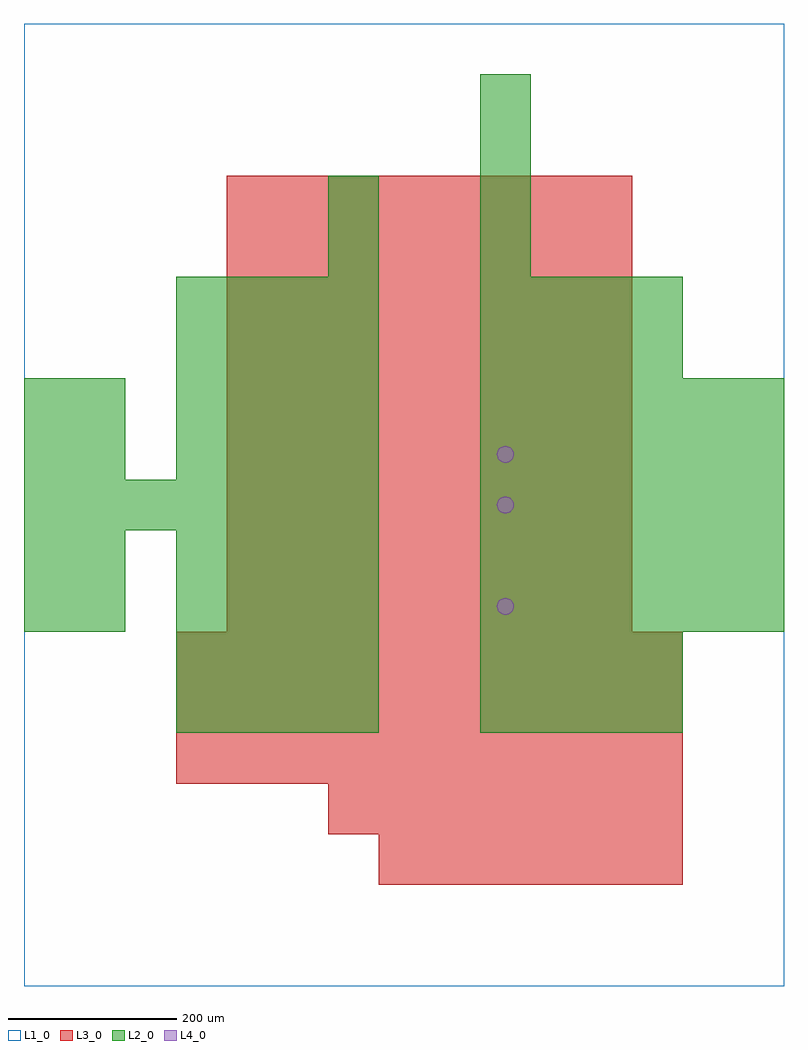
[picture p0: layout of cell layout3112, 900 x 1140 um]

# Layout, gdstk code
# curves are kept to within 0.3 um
import gdstk
lib = gdstk.Library(unit=1e-6, precision=1e-09)
def R(c, l, rs):  # rectangles x0, y0, x1, y1
    for r in rs: c.add(gdstk.rectangle(r[:2], r[2:], *l))
def A(c, l, x, y, w, h, nx, ny, dx, dy):  # array of equal rectangles
    R(c, l, [(x+i*dx, y+j*dy, x+i*dx+w, y+j*dy+h) for i in range(nx) for j in range(ny)])
def P(c, l, *ps):  # polygons
    for p in ps: c.add(gdstk.Polygon(p, *l))
L1_0 = (1, 0)
L2_0 = (2, 0)
L3_0 = (3, 0)
L4_0 = (4, 0)

layout3112 = lib.new_cell('layout3112')
R(layout3112, L1_0, [(0,0,900,1140)])
A(layout3112, L2_0, 180, 300, 60, 60, 4, 4, 60, 60)
A(layout3112, L2_0, 540, 300, 60, 60, 4, 2, 60, 60)
A(layout3112, L2_0, 540, 420, 60, 60, 6, 5, 60, 60)
A(layout3112, L2_0, 0, 540, 60, 60, 7, 1, 60, 0)
A(layout3112, L2_0, 180, 600, 60, 60, 4, 4, 60, 60)
A(layout3112, L2_0, 540, 720, 60, 60, 4, 2, 60, 60)
A(layout3112, L2_0, 540, 840, 60, 60, 1, 4, 0, 60)
R(layout3112, L2_0, [(0,420,60,480), (60,420,120,480), (0,480,60,540), (60,480,120,540), (0,600,60,660), (60,600,120,660), (0,660,60,720), (60,660,120,720), (360,840,420,900), (360,900,420,960)])
A(layout3112, L3_0, 420, 120, 60, 60, 6, 1, 60, 0)
A(layout3112, L3_0, 360, 180, 60, 60, 7, 1, 60, 0)
A(layout3112, L3_0, 180, 240, 60, 60, 10, 3, 60, 60)
A(layout3112, L3_0, 240, 420, 60, 60, 8, 9, 60, 60)
P(layout3112, L4_0, [(580,450),(579.239,453.827),(577.071,457.071),(573.827,459.239),(570,460),(566.173,459.239),(562.929,457.071),(560.761,453.827),(560,450),(560.761,446.173),(562.929,442.929),(566.173,440.761),(570,440),(573.827,440.761),(577.071,442.929),(579.239,446.173)],
  [(580,570),(579.239,573.827),(577.071,577.071),(573.827,579.239),(570,580),(566.173,579.239),(562.929,577.071),(560.761,573.827),(560,570),(560.761,566.173),(562.929,562.929),(566.173,560.761),(570,560),(573.827,560.761),(577.071,562.929),(579.239,566.173)],
  [(580,630),(579.239,633.827),(577.071,637.071),(573.827,639.239),(570,640),(566.173,639.239),(562.929,637.071),(560.761,633.827),(560,630),(560.761,626.173),(562.929,622.929),(566.173,620.761),(570,620),(573.827,620.761),(577.071,622.929),(579.239,626.173)])

lib.write_gds('layout3112.gds')
